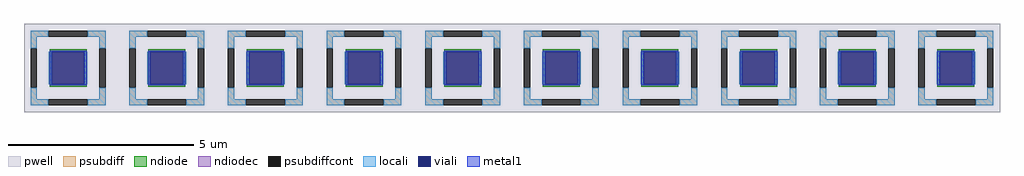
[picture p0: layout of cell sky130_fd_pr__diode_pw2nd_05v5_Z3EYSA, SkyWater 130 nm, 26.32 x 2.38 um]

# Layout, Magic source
magic
tech sky130A
<< pwell >>
rect -1316 -119 1316 119
<< psubdiff >>
rect -1298 84 -1250 101
rect -1144 84 -1096 101
rect -1298 53 -1281 84
rect -1113 53 -1096 84
rect -1298 -84 -1281 -53
rect -1113 -84 -1096 -53
rect -1298 -101 -1250 -84
rect -1144 -101 -1096 -84
rect -1032 84 -984 101
rect -878 84 -830 101
rect -1032 53 -1015 84
rect -847 53 -830 84
rect -1032 -84 -1015 -53
rect -847 -84 -830 -53
rect -1032 -101 -984 -84
rect -878 -101 -830 -84
rect -766 84 -718 101
rect -612 84 -564 101
rect -766 53 -749 84
rect -581 53 -564 84
rect -766 -84 -749 -53
rect -581 -84 -564 -53
rect -766 -101 -718 -84
rect -612 -101 -564 -84
rect -500 84 -452 101
rect -346 84 -298 101
rect -500 53 -483 84
rect -315 53 -298 84
rect -500 -84 -483 -53
rect -315 -84 -298 -53
rect -500 -101 -452 -84
rect -346 -101 -298 -84
rect -234 84 -186 101
rect -80 84 -32 101
rect -234 53 -217 84
rect -49 53 -32 84
rect -234 -84 -217 -53
rect -49 -84 -32 -53
rect -234 -101 -186 -84
rect -80 -101 -32 -84
rect 32 84 80 101
rect 186 84 234 101
rect 32 53 49 84
rect 217 53 234 84
rect 32 -84 49 -53
rect 217 -84 234 -53
rect 32 -101 80 -84
rect 186 -101 234 -84
rect 298 84 346 101
rect 452 84 500 101
rect 298 53 315 84
rect 483 53 500 84
rect 298 -84 315 -53
rect 483 -84 500 -53
rect 298 -101 346 -84
rect 452 -101 500 -84
rect 564 84 612 101
rect 718 84 766 101
rect 564 53 581 84
rect 749 53 766 84
rect 564 -84 581 -53
rect 749 -84 766 -53
rect 564 -101 612 -84
rect 718 -101 766 -84
rect 830 84 878 101
rect 984 84 1032 101
rect 830 53 847 84
rect 1015 53 1032 84
rect 830 -84 847 -53
rect 1015 -84 1032 -53
rect 830 -101 878 -84
rect 984 -101 1032 -84
rect 1096 84 1144 101
rect 1250 84 1298 101
rect 1096 53 1113 84
rect 1281 53 1298 84
rect 1096 -84 1113 -53
rect 1281 -84 1298 -53
rect 1096 -101 1144 -84
rect 1250 -101 1298 -84
<< psubdiffcont >>
rect -1250 84 -1144 101
rect -1298 -53 -1281 53
rect -1113 -53 -1096 53
rect -1250 -101 -1144 -84
rect -984 84 -878 101
rect -1032 -53 -1015 53
rect -847 -53 -830 53
rect -984 -101 -878 -84
rect -718 84 -612 101
rect -766 -53 -749 53
rect -581 -53 -564 53
rect -718 -101 -612 -84
rect -452 84 -346 101
rect -500 -53 -483 53
rect -315 -53 -298 53
rect -452 -101 -346 -84
rect -186 84 -80 101
rect -234 -53 -217 53
rect -49 -53 -32 53
rect -186 -101 -80 -84
rect 80 84 186 101
rect 32 -53 49 53
rect 217 -53 234 53
rect 80 -101 186 -84
rect 346 84 452 101
rect 298 -53 315 53
rect 483 -53 500 53
rect 346 -101 452 -84
rect 612 84 718 101
rect 564 -53 581 53
rect 749 -53 766 53
rect 612 -101 718 -84
rect 878 84 984 101
rect 830 -53 847 53
rect 1015 -53 1032 53
rect 878 -101 984 -84
rect 1144 84 1250 101
rect 1096 -53 1113 53
rect 1281 -53 1298 53
rect 1144 -101 1250 -84
<< ndiode >>
rect -1247 44 -1147 50
rect -1247 -44 -1241 44
rect -1153 -44 -1147 44
rect -1247 -50 -1147 -44
rect -981 44 -881 50
rect -981 -44 -975 44
rect -887 -44 -881 44
rect -981 -50 -881 -44
rect -715 44 -615 50
rect -715 -44 -709 44
rect -621 -44 -615 44
rect -715 -50 -615 -44
rect -449 44 -349 50
rect -449 -44 -443 44
rect -355 -44 -349 44
rect -449 -50 -349 -44
rect -183 44 -83 50
rect -183 -44 -177 44
rect -89 -44 -83 44
rect -183 -50 -83 -44
rect 83 44 183 50
rect 83 -44 89 44
rect 177 -44 183 44
rect 83 -50 183 -44
rect 349 44 449 50
rect 349 -44 355 44
rect 443 -44 449 44
rect 349 -50 449 -44
rect 615 44 715 50
rect 615 -44 621 44
rect 709 -44 715 44
rect 615 -50 715 -44
rect 881 44 981 50
rect 881 -44 887 44
rect 975 -44 981 44
rect 881 -50 981 -44
rect 1147 44 1247 50
rect 1147 -44 1153 44
rect 1241 -44 1247 44
rect 1147 -50 1247 -44
<< ndiodec >>
rect -1241 -44 -1153 44
rect -975 -44 -887 44
rect -709 -44 -621 44
rect -443 -44 -355 44
rect -177 -44 -89 44
rect 89 -44 177 44
rect 355 -44 443 44
rect 621 -44 709 44
rect 887 -44 975 44
rect 1153 -44 1241 44
<< locali >>
rect -1298 84 -1250 101
rect -1144 84 -1096 101
rect -1298 53 -1281 84
rect -1113 53 -1096 84
rect -1249 -44 -1241 44
rect -1153 -44 -1145 44
rect -1298 -84 -1281 -53
rect -1113 -84 -1096 -53
rect -1298 -101 -1250 -84
rect -1144 -101 -1096 -84
rect -1032 84 -984 101
rect -878 84 -830 101
rect -1032 53 -1015 84
rect -847 53 -830 84
rect -983 -44 -975 44
rect -887 -44 -879 44
rect -1032 -84 -1015 -53
rect -847 -84 -830 -53
rect -1032 -101 -984 -84
rect -878 -101 -830 -84
rect -766 84 -718 101
rect -612 84 -564 101
rect -766 53 -749 84
rect -581 53 -564 84
rect -717 -44 -709 44
rect -621 -44 -613 44
rect -766 -84 -749 -53
rect -581 -84 -564 -53
rect -766 -101 -718 -84
rect -612 -101 -564 -84
rect -500 84 -452 101
rect -346 84 -298 101
rect -500 53 -483 84
rect -315 53 -298 84
rect -451 -44 -443 44
rect -355 -44 -347 44
rect -500 -84 -483 -53
rect -315 -84 -298 -53
rect -500 -101 -452 -84
rect -346 -101 -298 -84
rect -234 84 -186 101
rect -80 84 -32 101
rect -234 53 -217 84
rect -49 53 -32 84
rect -185 -44 -177 44
rect -89 -44 -81 44
rect -234 -84 -217 -53
rect -49 -84 -32 -53
rect -234 -101 -186 -84
rect -80 -101 -32 -84
rect 32 84 80 101
rect 186 84 234 101
rect 32 53 49 84
rect 217 53 234 84
rect 81 -44 89 44
rect 177 -44 185 44
rect 32 -84 49 -53
rect 217 -84 234 -53
rect 32 -101 80 -84
rect 186 -101 234 -84
rect 298 84 346 101
rect 452 84 500 101
rect 298 53 315 84
rect 483 53 500 84
rect 347 -44 355 44
rect 443 -44 451 44
rect 298 -84 315 -53
rect 483 -84 500 -53
rect 298 -101 346 -84
rect 452 -101 500 -84
rect 564 84 612 101
rect 718 84 766 101
rect 564 53 581 84
rect 749 53 766 84
rect 613 -44 621 44
rect 709 -44 717 44
rect 564 -84 581 -53
rect 749 -84 766 -53
rect 564 -101 612 -84
rect 718 -101 766 -84
rect 830 84 878 101
rect 984 84 1032 101
rect 830 53 847 84
rect 1015 53 1032 84
rect 879 -44 887 44
rect 975 -44 983 44
rect 830 -84 847 -53
rect 1015 -84 1032 -53
rect 830 -101 878 -84
rect 984 -101 1032 -84
rect 1096 84 1144 101
rect 1250 84 1298 101
rect 1096 53 1113 84
rect 1281 53 1298 84
rect 1145 -44 1153 44
rect 1241 -44 1249 44
rect 1096 -84 1113 -53
rect 1281 -84 1298 -53
rect 1096 -101 1144 -84
rect 1250 -101 1298 -84
<< viali >>
rect -1241 -44 -1153 44
rect -975 -44 -887 44
rect -709 -44 -621 44
rect -443 -44 -355 44
rect -177 -44 -89 44
rect 89 -44 177 44
rect 355 -44 443 44
rect 621 -44 709 44
rect 887 -44 975 44
rect 1153 -44 1241 44
<< metal1 >>
rect -1247 44 -1147 47
rect -1247 -44 -1241 44
rect -1153 -44 -1147 44
rect -1247 -47 -1147 -44
rect -981 44 -881 47
rect -981 -44 -975 44
rect -887 -44 -881 44
rect -981 -47 -881 -44
rect -715 44 -615 47
rect -715 -44 -709 44
rect -621 -44 -615 44
rect -715 -47 -615 -44
rect -449 44 -349 47
rect -449 -44 -443 44
rect -355 -44 -349 44
rect -449 -47 -349 -44
rect -183 44 -83 47
rect -183 -44 -177 44
rect -89 -44 -83 44
rect -183 -47 -83 -44
rect 83 44 183 47
rect 83 -44 89 44
rect 177 -44 183 44
rect 83 -47 183 -44
rect 349 44 449 47
rect 349 -44 355 44
rect 443 -44 449 44
rect 349 -47 449 -44
rect 615 44 715 47
rect 615 -44 621 44
rect 709 -44 715 44
rect 615 -47 715 -44
rect 881 44 981 47
rect 881 -44 887 44
rect 975 -44 981 44
rect 881 -47 981 -44
rect 1147 44 1247 47
rect 1147 -44 1153 44
rect 1241 -44 1247 44
rect 1147 -47 1247 -44
<< properties >>
string FIXED_BBOX 1104 -92 1289 92
string gencell sky130_fd_pr__diode_pw2nd_05v5
string library sky130
string parameters w 1 l 1 area 1.0 peri 4.0 nx 10 ny 1 dummy 0 lmin 0.45 wmin 0.45 elc 1 erc 1 etc 1 ebc 1 doverlap 0 compatible {sky130_fd_pr__diode_pw2nd_05v5 sky130_fd_pr__diode_pw2nd_05v5_lvt  sky130_fd_pr__diode_pw2nd_05v5_nvt sky130_fd_pr__diode_pw2nd_11v0} full_metal 1 vias 1 viagb 0 viagt 0 viagl 0 viagr 0
<< end >>
